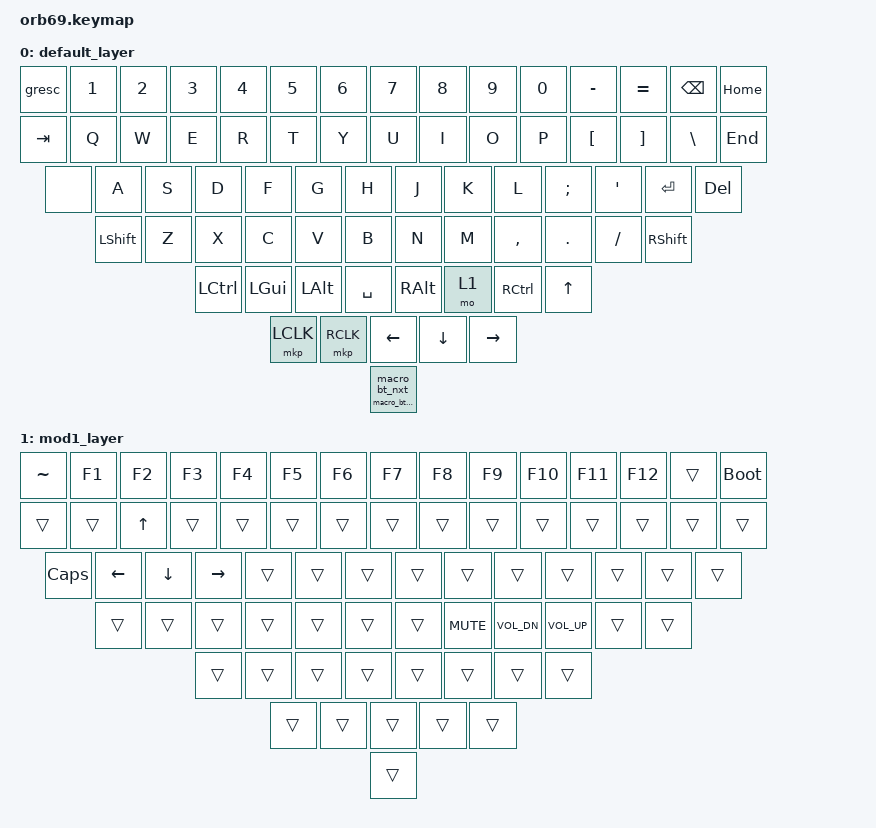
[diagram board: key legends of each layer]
#include <behaviors.dtsi>
#include <dt-bindings/zmk/keys.h>
#include <dt-bindings/zmk/bt.h>
#include <dt-bindings/zmk/mouse.h>

/ {
    macros {
        macro_bt_clr: macro_bt_clr {
            label = "macro bt clear";
            compatible = "zmk,behavior-macro";
            #binding-cells = <0>;
            bindings = <&bt BT_CLR>;
        };
        macro_bt_nxt: macro_bt_nxt {
            label = "macro bt next";
            compatible = "zmk,behavior-macro";
            #binding-cells = <0>;
            bindings = <&bt BT_NXT>;
        };
    };

    behaviors {
       bt_ht: bluetooth_hold_tap {
           compatible = "zmk,behavior-hold-tap";
           label = "bt hold tap";
           #binding-cells = <2>;
           tapping-term-ms = <1000>;
           bindings = <&macro_bt_clr &macro_bt_nxt>;
       };
    };

    keymap {
        compatible = "zmk,keymap";

        default_layer {
            bindings = <
                &gresc  &kp N1 &kp N2 &kp N3 &kp N4 &kp N5 &kp N6 &kp N7 &kp N8 &kp N9 &kp N0 &kp MINUS &kp EQUAL  &kp BSPC &kp HOME
                &kp TAB  &kp Q  &kp W  &kp E  &kp R  &kp T  &kp Y  &kp U  &kp I  &kp O  &kp P  &kp LBKT  &kp RBKT  &kp BSLH &kp END
                &none     &kp A  &kp S  &kp D  &kp F  &kp G  &kp H  &kp J  &kp K  &kp L  &kp SEMI &kp SQT        &kp RET    &kp DEL
                &kp LSHFT   &kp Z  &kp X  &kp C  &kp V  &kp B  &kp N  &kp M  &kp COMMA &kp DOT &kp FSLH      &kp RSHFT 
                &kp LCTRL &kp LGUI &kp LALT               &kp SPACE                &kp RALT  &mo 1   &kp RCTRL     &kp UP
                                              &mkp LCLK                 &mkp RCLK                         &kp LEFT &kp DOWN &kp RIGHT

                &bt_ht 0 0
            >;
        };

        mod1_layer {
            bindings = <
                &kp TILDE  &kp F1 &kp F2 &kp F3 &kp F4 &kp F5 &kp F6 &kp F7 &kp F8 &kp F9 &kp F10 &kp F11 &kp F12  &trans &bootloader
                &trans &trans &kp UP &trans &trans &trans &trans &trans &trans &trans &trans &trans &trans &trans  &trans
                &kp CLCK  &kp LEFT &kp DOWN &kp RIGHT &trans &trans &trans &trans &trans &trans &trans &trans    &trans   &trans
                &trans &trans &trans &trans &trans &trans &trans &kp C_MUTE &kp C_VOL_DN &kp C_VOL_UP &trans   &trans 
                &trans &trans &trans               &trans                &trans  &trans   &trans                          &trans
                                        &trans                &trans                                               &trans &trans &trans

                &trans
            >;
        };
    };
};
